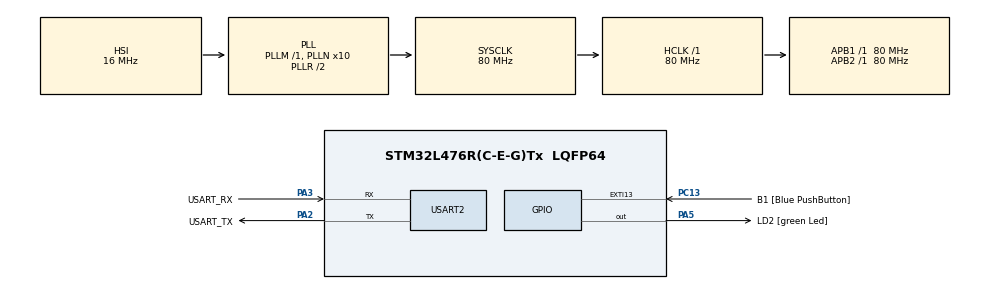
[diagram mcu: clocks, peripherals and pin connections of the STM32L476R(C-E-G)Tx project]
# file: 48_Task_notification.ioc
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FREERTOS.Tasks01=defaultTask,0,128,StartDefaultTask,Default,NULL,Dynamic,NULL,NULL
Mcu.Family=STM32L4
Mcu.Name=STM32L476R(C-E-G)Tx
Mcu.Package=LQFP64
NVIC.PriorityGroup=NVIC_PRIORITYGROUP_4
PA13\ (JTMS-SWDIO).GPIO_Label=TMS
PA13\ (JTMS-SWDIO).Mode=Serial_Wire
PA13\ (JTMS-SWDIO).Signal=SYS_JTMS-SWDIO
PA14\ (JTCK-SWCLK).GPIO_Label=TCK
PA14\ (JTCK-SWCLK).Mode=Serial_Wire
PA14\ (JTCK-SWCLK).Signal=SYS_JTCK-SWCLK
PA2.GPIO_Label=USART_TX
PA2.GPIO_Mode=GPIO_MODE_AF_PP
PA2.GPIO_PuPd=GPIO_NOPULL
PA2.GPIO_Speed=GPIO_SPEED_FREQ_VERY_HIGH
PA2.Mode=Asynchronous
PA2.Signal=USART2_TX
PA3.GPIO_Label=USART_RX
PA3.GPIO_Mode=GPIO_MODE_AF_PP
PA3.GPIO_PuPd=GPIO_NOPULL
PA3.GPIO_Speed=GPIO_SPEED_FREQ_VERY_HIGH
PA3.Mode=Asynchronous
PA3.Signal=USART2_RX
PA5.GPIO_Label=LD2 [green Led]
PA5.GPIO_ModeDefaultOutputPP=GPIO_MODE_OUTPUT_PP
PA5.GPIO_PuPd=GPIO_NOPULL
PA5.GPIO_Speed=GPIO_SPEED_FREQ_LOW
PA5.Signal=GPIO_Output
PB3\ (JTDO-TRACESWO).GPIO_Label=SWO
PB3\ (JTDO-TRACESWO).Signal=SYS_JTDO-SWO
PC13.GPIO_Label=B1 [Blue PushButton]
PC13.GPIO_ModeDefaultEXTI=GPIO_MODE_IT_FALLING
PC13.GPIO_PuPd=GPIO_NOPULL
PC13.Signal=GPXTI13
PC14-OSC32_IN\ (PC14).Mode=LSE-External-Oscillator
PC14-OSC32_IN\ (PC14).Signal=RCC_OSC32_IN
PC15-OSC32_OUT\ (PC15).Mode=LSE-External-Oscillator
PC15-OSC32_OUT\ (PC15).Signal=RCC_OSC32_OUT
PH0-OSC_IN\ (PH0).Signal=RCC_OSC_IN
PH1-OSC_OUT\ (PH1).Signal=RCC_OSC_OUT
ProjectManager.HeapSize=0x200
ProjectManager.StackSize=0x400
ProjectManager.TargetToolchain=STM32CubeIDE
RCC.ADCFreq_Value=64000000
RCC.AHBFreq_Value=80000000
RCC.APB1Freq_Value=80000000
RCC.APB1TimFreq_Value=80000000
RCC.APB2Freq_Value=80000000
RCC.APB2TimFreq_Value=80000000
RCC.CortexFreq_Value=80000000
RCC.HCLKFreq_Value=80000000
RCC.HSE_VALUE=8000000
RCC.HSI_VALUE=16000000
RCC.MSI_VALUE=4000000
RCC.PLLN=10
RCC.PLLSourceVirtual=RCC_PLLSOURCE_HSI
RCC.PREFETCH_ENABLE=1
RCC.SYSCLKFreq_VALUE=80000000
RCC.SYSCLKSource=RCC_SYSCLKSOURCE_PLLCLK
RCC.USBFreq_Value=64000000
RCC.VCOOutputFreq_Value=160000000
USART2.VirtualMode-Asynchronous=VM_ASYNC
VP_FREERTOS_VS_CMSIS_V1.Mode=CMSIS_V1
board=NUCLEO-L476RG

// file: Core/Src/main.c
/* USER CODE BEGIN Header */
/**
  ******************************************************************************
  * @file           : main.c
  * @brief          : Main program body
  ******************************************************************************
  * @attention
  *
  * Copyright (c) 2025 STMicroelectronics.
  * All rights reserved.
  *
  * This software is licensed under terms that can be found in the LICENSE file
  * in the root directory of this software component.
  * If no LICENSE file comes with this software, it is provided AS-IS.
  *
  ******************************************************************************
  */
/* USER CODE END Header */
#include "main.h"
#include "cmsis_os.h"

/* USER CODE BEGIN Includes */
#include<stdio.h>
#include<stdarg.h>
/* USER CODE END Includes */

UART_HandleTypeDef huart2;

osThreadId defaultTaskHandle;
/* USER CODE BEGIN PV */
uint8_t BUTTON_PRESSED=0;
/* USER CODE END PV */

void SystemClock_Config(void);
static void MX_GPIO_Init(void);
static void MX_USART2_UART_Init(void);
void StartDefaultTask(void const * argument);

/* USER CODE BEGIN 0 */
void debug_printf(const char *fmt, ...)
{
	char buffer[256];
	va_list args;
	va_start(args, fmt);
	vsnprintf(buffer, sizeof(buffer), fmt, args);
	va_end(args);
	uint16_t i = 0;
	while(buffer[i] != '\0')
	{
		ITM_SendChar(buffer[i]);
		i++;
	}
}

TaskHandle_t xTaskHandler1 = NULL ;
TaskHandle_t xTaskHandler2 = NULL ;
BaseType_t status;
void rtos_delay(uint32_t delay_in_ms)
{
	uint32_t current_tick_count = xTaskGetTickCount();

	uint32_t delay_in_ticks =(delay_in_ms * configTICK_RATE_HZ)/1000;

	while(xTaskGetTickCount() < (current_tick_count + delay_in_ticks));
}
void led_Task_Handler(void *params)
{

	while(1)
	{
		if(xTaskNotifyWait(0, 0, NULL, portMAX_DELAY)==pdTRUE)
		{
			HAL_GPIO_TogglePin(LD2_GPIO_Port, LD2_Pin);
		}
	}
}
void btn_Task_Handler(void *params)
{
	while(1)
	{
		if(HAL_GPIO_ReadPin(B1_GPIO_Port, B1_Pin)==0)
		{
			debug_printf("Button Pressed ");
			rtos_delay(100);
			xTaskNotify(xTaskHandler1,0x0,eNoAction);
		}
	}
}

/* USER CODE END 0 */

int main(void)
{

  /* MCU Configuration--------------------------------------------------------*/

  /* Reset of all peripherals, Initializes the Flash interface and the Systick. */
  HAL_Init();

  /* Configure the system clock */
  SystemClock_Config();

  /* Initialize all configured peripherals */
  MX_GPIO_Init();
  MX_USART2_UART_Init();

  /* Create the thread(s) */
  /* definition and creation of defaultTask */
  osThreadDef(defaultTask, StartDefaultTask, osPriorityNormal, 0, 128);
  defaultTaskHandle = osThreadCreate(osThread(defaultTask), NULL);

  /* USER CODE BEGIN RTOS_THREADS */
  /* add threads, ... */
  status=xTaskCreate(led_Task_Handler,"Led_Task",200,NULL,1,&xTaskHandler1);
  configASSERT(status);
	if(status != pdTRUE)
	{
	  debug_printf("Led_Task failed\n");
	}
  status=xTaskCreate(btn_Task_Handler,"BUTTON_Task",200,NULL,1,&xTaskHandler2);
  configASSERT(status);
    if(status != pdTRUE)
    {
  	  debug_printf("BUTTON_Task failed\n");
    }
    vTaskStartScheduler();
  /* USER CODE END RTOS_THREADS */

  /* Start scheduler */
  osKernelStart();

  /* We should never get here as control is now taken by the scheduler */

  /* Infinite loop */
  while (1)
  {

  }
}

void SystemClock_Config(void)
{
  RCC_OscInitTypeDef RCC_OscInitStruct = {0};
  RCC_ClkInitTypeDef RCC_ClkInitStruct = {0};

  /** Configure the main internal regulator output voltage
  */
  if (HAL_PWREx_ControlVoltageScaling(PWR_REGULATOR_VOLTAGE_SCALE1) != HAL_OK)
  {
    Error_Handler();
  }

  /** Initializes the RCC Oscillators according to the specified parameters
  * in the RCC_OscInitTypeDef structure.
  */
  RCC_OscInitStruct.OscillatorType = RCC_OSCILLATORTYPE_HSI;
  RCC_OscInitStruct.HSIState = RCC_HSI_ON;
  RCC_OscInitStruct.HSICalibrationValue = RCC_HSICALIBRATION_DEFAULT;
  RCC_OscInitStruct.PLL.PLLState = RCC_PLL_ON;
  RCC_OscInitStruct.PLL.PLLSource = RCC_PLLSOURCE_HSI;
  RCC_OscInitStruct.PLL.PLLM = 1;
  RCC_OscInitStruct.PLL.PLLN = 10;
  RCC_OscInitStruct.PLL.PLLP = RCC_PLLP_DIV7;
  RCC_OscInitStruct.PLL.PLLQ = RCC_PLLQ_DIV2;
  RCC_OscInitStruct.PLL.PLLR = RCC_PLLR_DIV2;
  if (HAL_RCC_OscConfig(&RCC_OscInitStruct) != HAL_OK)
  {
    Error_Handler();
  }

  /** Initializes the CPU, AHB and APB buses clocks
  */
  RCC_ClkInitStruct.ClockType = RCC_CLOCKTYPE_HCLK|RCC_CLOCKTYPE_SYSCLK
                              |RCC_CLOCKTYPE_PCLK1|RCC_CLOCKTYPE_PCLK2;
  RCC_ClkInitStruct.SYSCLKSource = RCC_SYSCLKSOURCE_PLLCLK;
  RCC_ClkInitStruct.AHBCLKDivider = RCC_SYSCLK_DIV1;
  RCC_ClkInitStruct.APB1CLKDivider = RCC_HCLK_DIV1;
  RCC_ClkInitStruct.APB2CLKDivider = RCC_HCLK_DIV1;

  if (HAL_RCC_ClockConfig(&RCC_ClkInitStruct, FLASH_LATENCY_4) != HAL_OK)
  {
    Error_Handler();
  }
}

static void MX_USART2_UART_Init(void)
{

  huart2.Instance = USART2;
  huart2.Init.BaudRate = 115200;
  huart2.Init.WordLength = UART_WORDLENGTH_8B;
  huart2.Init.StopBits = UART_STOPBITS_1;
  huart2.Init.Parity = UART_PARITY_NONE;
  huart2.Init.Mode = UART_MODE_TX_RX;
  huart2.Init.HwFlowCtl = UART_HWCONTROL_NONE;
  huart2.Init.OverSampling = UART_OVERSAMPLING_16;
  huart2.Init.OneBitSampling = UART_ONE_BIT_SAMPLE_DISABLE;
  huart2.AdvancedInit.AdvFeatureInit = UART_ADVFEATURE_NO_INIT;
  if (HAL_UART_Init(&huart2) != HAL_OK)
  {
    Error_Handler();
  }

}

static void MX_GPIO_Init(void)
{
  GPIO_InitTypeDef GPIO_InitStruct = {0};

  /* GPIO Ports Clock Enable */
  __HAL_RCC_GPIOC_CLK_ENABLE();
  __HAL_RCC_GPIOH_CLK_ENABLE();
  __HAL_RCC_GPIOA_CLK_ENABLE();
  __HAL_RCC_GPIOB_CLK_ENABLE();

  /*Configure GPIO pin Output Level */
  HAL_GPIO_WritePin(LD2_GPIO_Port, LD2_Pin, GPIO_PIN_RESET);

  /*Configure GPIO pin : B1_Pin */
  GPIO_InitStruct.Pin = B1_Pin;
  GPIO_InitStruct.Mode = GPIO_MODE_IT_FALLING;
  GPIO_InitStruct.Pull = GPIO_NOPULL;
  HAL_GPIO_Init(B1_GPIO_Port, &GPIO_InitStruct);

  /*Configure GPIO pin : LD2_Pin */
  GPIO_InitStruct.Pin = LD2_Pin;
  GPIO_InitStruct.Mode = GPIO_MODE_OUTPUT_PP;
  GPIO_InitStruct.Pull = GPIO_NOPULL;
  GPIO_InitStruct.Speed = GPIO_SPEED_FREQ_LOW;
  HAL_GPIO_Init(LD2_GPIO_Port, &GPIO_InitStruct);

}

void StartDefaultTask(void const * argument)
{
  for(;;)
  {
    osDelay(1);
  }
}

void Error_Handler(void)
{
  __disable_irq();
  while (1)
  {
  }
}
